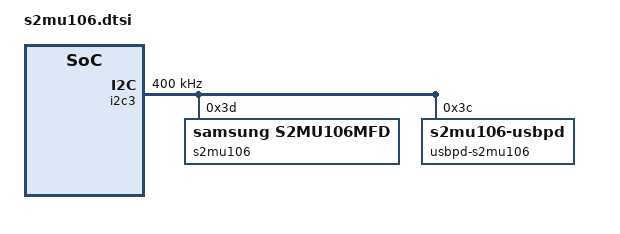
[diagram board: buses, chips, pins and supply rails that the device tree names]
&pio {
	if_pmic_irq: if_pmic_irq {
		pins_cmd_dat {
			pinmux = <MTK_PINMUX(SEC_GPIO_NUM(AP,pio,7), 0)>;
			slew-rate = <1>;
			bias-disable;
		};
	};
};

&pio {
	usbpd_irq: usbpd_irq {
		pins_cmd_dat {
			pinmux = <MTK_PINMUX(SEC_GPIO_NUM(AP,pio,0), 0)>;
			slew-rate = <1>;
			bias-disable;
		};
	};
};

&i2c3 {
	#address-cells = <1>;
	#size-cells = <0>;
	clock-frequency = <400000>;
	mediatek,use-open-drain;
	s2mu106: s2mu106@3D {
		status = "okay";
		compatible = "samsung,s2mu106mfd";
		reg = <0x3D>;
		pinctrl-names = "default";
		pinctrl-0 = <&if_pmic_irq>;
		s2mu106,irq-gpio = <SEC_GPIO_REF(AP,pio,7) 1>;
		s2mu106,wakeup;
	};
};

&i2c3 {
	#address-cells = <1>;
	#size-cells = <0>;
	clock-frequency = <400000>;
	mediatek,use-open-drain;
	usbpd-s2mu106@3C {
		status = "okay";
		compatible = "s2mu106-usbpd";
		reg = <0x3C>;
		pinctrl-names = "default";
		pinctrl-0 = <&usbpd_irq
#if 0
						&usbpd_vbus_discharging
#endif
#if 0
						&pogo_dock_int
#endif
						>;
		usbpd,usbpd_int = <SEC_GPIO_REF(AP,pio,0) 0>;
#if 0
		usbpd,vbus_discharging = <SEC_GPIO_REF(${usbpd_vbus_discharging_gpio}) 0>;
#endif
#if 0
		pogo_dock_int = <SEC_GPIO_REF(${pogo_gpio}) 0>;
#endif

		pdic-manager {
			/* sink */
			pdic,max_power = <5000>;
			pdic_op_power = <2500>;
			pdic_max_voltage = <6000>;
			pdic_max_current = <2000>;
			pdic,min_current = <500>;

			pdic,giveback = <0>;
			pdic,usb_com_capable = <1>;
			pdic,no_usb_suspend = <1>;

			/* source */
			source,max_voltage = <5000>;
			source,min_voltage = <4000>;
			source,max_power = <2500>;

			/* sink cap */
			sink,capable_max_voltage = <5000>;
		};
	};
};

